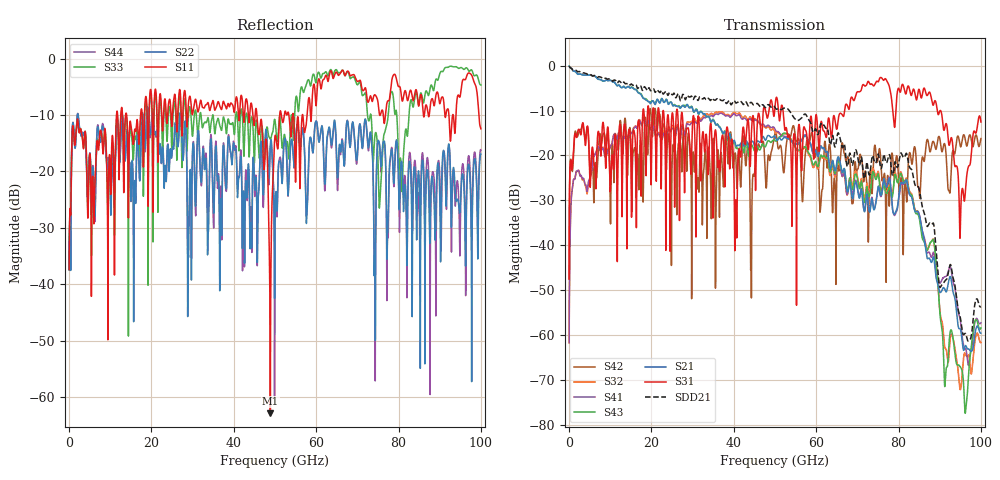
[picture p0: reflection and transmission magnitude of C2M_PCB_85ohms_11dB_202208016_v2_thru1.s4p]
! Info: Touchstone file created by Circ.  Input file=Intel_C2M_200G_2p0in_202208016_staggered.circ
# Hz S RI R 50
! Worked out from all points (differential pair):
!   10000 points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, 10 MHz to 100 GHz, reference 50 ohm
!   strongest paths, dB at 10 MHz, 25.01 GHz, 50.01 GHz, 75.01 GHz, 100 GHz:
!     S31: -47.5, -10.7, -9.1, -3.6, -12.6
!     S21: -0.1, -8.5, -15.8, -27.2, -59.6
!     S43: -0.1, -8.6, -16.7, -24.1, -58.4
!     S41: -61.7, -14.1, -14.2, -27.2, -57.3
!     S32: -61.7, -13.7, -14.8, -23.5, -61.7
!     S42: -47.5, -22.4, -15.1, -20.8, -16.3
!   taken as a pair (ports 1,3 in; 2,4 out), SDD21 dB: -0.1, -6.5, -9.3, -19.8, -53.7
!   lowest |S11| = -62.9 dB at 48.87 GHz (marker M1), VSWR 1.00, Z = 50.1 - j0.026 ohm
!   |S11| at or under -10 dB: start of sweep to 11.52 GHz; 13.98 GHz to 17.36 GHz (3.381 GHz wide, 21.6 % of centre); 45.61 GHz to 51.14 GHz (5.533 GHz wide, 11.4 % of centre)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
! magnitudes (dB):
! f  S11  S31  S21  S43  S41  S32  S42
! 10 MHz  -37.4  -47.5  -0.1  -0.1  -61.7  -61.7  -47.5
! 6.93 GHz  -14.8  -15.5  -2.9  -3.0  -18.2  -18.1  -21.6
! 43.09 GHz  -7.2  -14.4  -16.8  -17.4  -12.1  -11.6  -20.8
! 48.87 GHz  -62.9  -8.0  -15.9  -17.1  -13.7  -14.2  -20.4
! 63.51 GHz  -2.2  -14.9  -23.0  -23.7  -23.3  -24.3  -19.6
! 96.3 GHz  -3.7  -27.2  -62.4  -76.9  -63.1  -64.4  -17.0
! 100 GHz  -12.5  -12.6  -59.6  -58.4  -57.3  -61.7  -16.3
